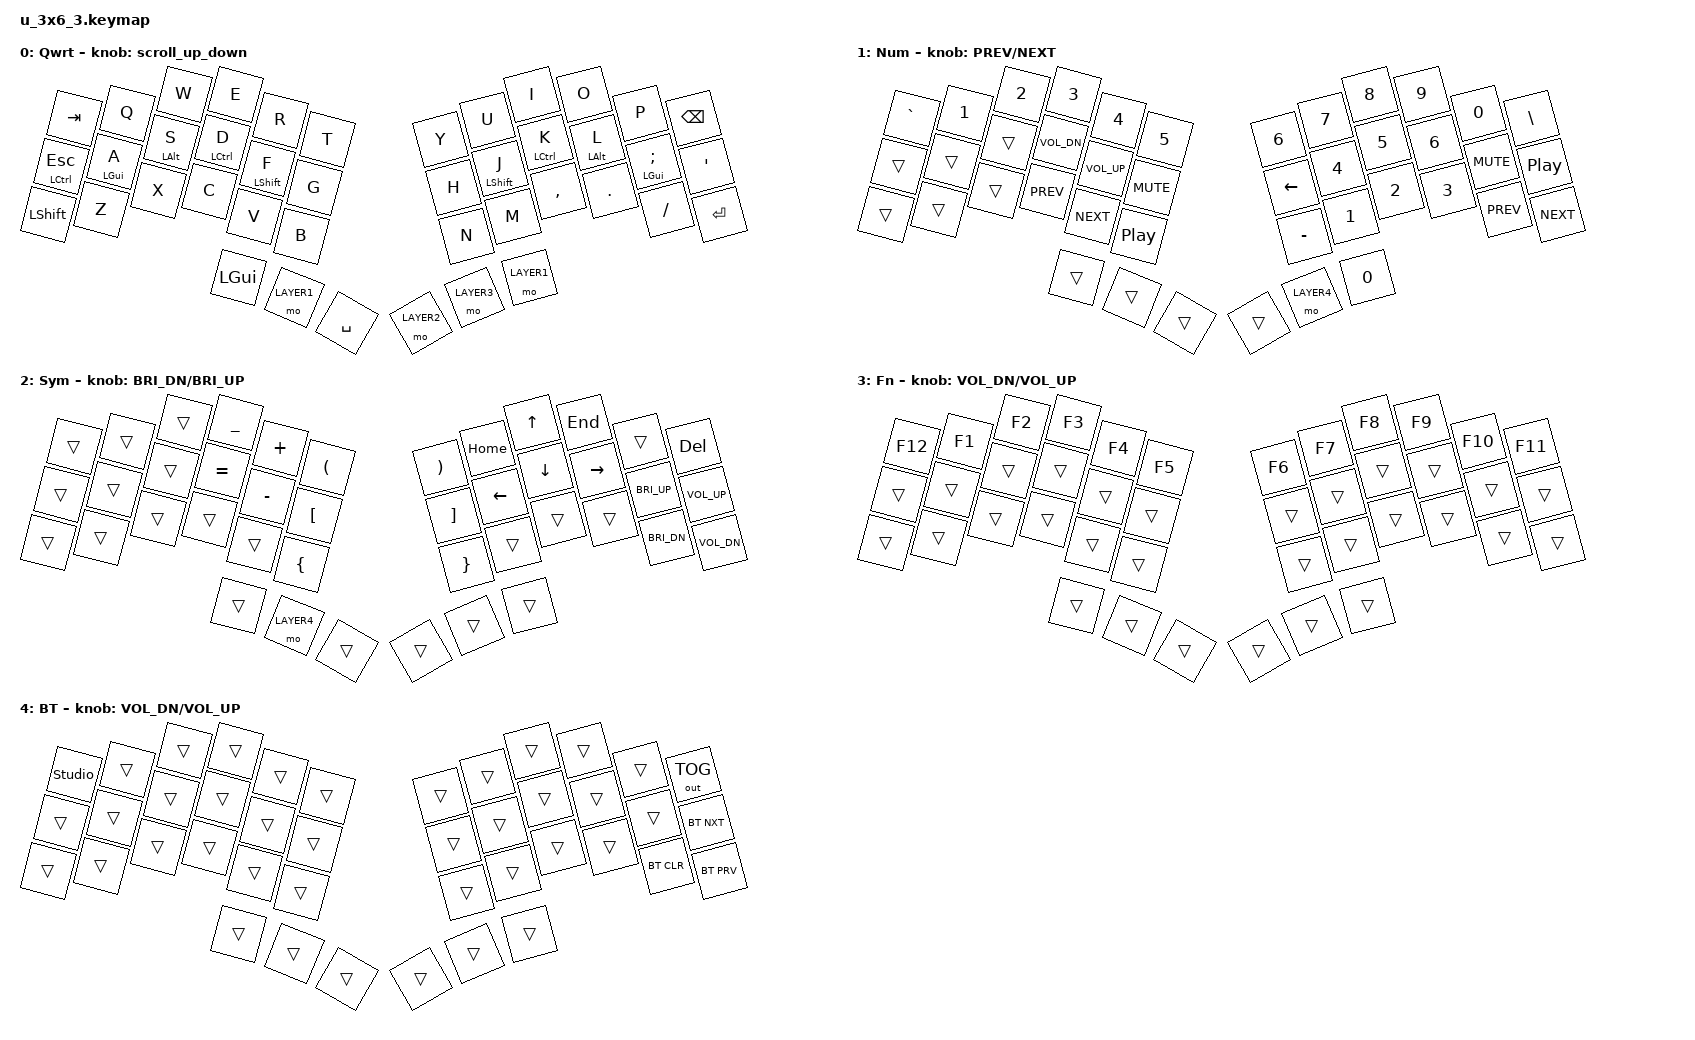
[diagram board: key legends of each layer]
#include <behaviors.dtsi>
#include <dt-bindings/zmk/bt.h>
#include <dt-bindings/zmk/keys.h>
#include <dt-bindings/zmk/outputs.h>
#include <dt-bindings/zmk/pointing.h>

/* ─── Timing ─────────────────────────────────────────────── */
#define HM_TAPPING_TERM      300
#define HM_TAPPING_TERM_FAST 200
#define HM_PRIOR_IDLE        125

/* ─── Key groups ─────────────────────────────────────────── */
#define KEYS_L 0 1 2 3 4 5 12 13 14 15 16 17 24 25 26 27 28 29
#define KEYS_R 6 7 8 9 10 11 18 19 20 21 22 23 30 31 32 33 34 35
#define KEYS_T 36 37 38 39 40 41

/* ─── Layers ──────────────────────────────────────────────── */
#define DEFAULT 0
#define LAYER1  1
#define LAYER2  2
#define LAYER3  3
#define LAYER4  4

/* ─── Combo timing ───────────────────────────────────────── */
#define COMBO_TIMEOUT    20
#define COMBO_PRIOR_IDLE 75


/ {

    /* ════════════════════════════════════════════════════════
       BEHAVIORS
       ════════════════════════════════════════════════════════ */

    behaviors {

        hm_l: homerow_mods_left {
            compatible              = "zmk,behavior-hold-tap";
            #binding-cells          = <2>;
            flavor                  = "balanced";
            require-prior-idle-ms   = <HM_PRIOR_IDLE>;
            tapping-term-ms         = <HM_TAPPING_TERM>;
            quick-tap-ms            = <175>;
            bindings                = <&kp>, <&kp>;
            hold-trigger-key-positions = <KEYS_R KEYS_T>;
            hold-trigger-on-release;
        };

        hm_r: homerow_mods_right {
            compatible              = "zmk,behavior-hold-tap";
            #binding-cells          = <2>;
            flavor                  = "balanced";
            require-prior-idle-ms   = <HM_PRIOR_IDLE>;
            tapping-term-ms         = <HM_TAPPING_TERM>;
            quick-tap-ms            = <175>;
            bindings                = <&kp>, <&kp>;
            hold-trigger-key-positions = <KEYS_L KEYS_T>;
            hold-trigger-on-release;
        };

        scroll_up_down: scroll_up_down {
            compatible = "zmk,behavior-sensor-rotate";
            #sensor-binding-cells = <0>;
            bindings = <&msc SCRL_DOWN>, <&msc SCRL_UP>;

            // Optional: Adjust sensitivity
            // tap-ms = <20>;
        };
    };


    /* ════════════════════════════════════════════════════════
       COMBOS
       ════════════════════════════════════════════════════════ */

    combos {
        compatible = "zmk,combos";

        /* ── Top row: symbol row ─────────────────────────── */
        combo_grave       { timeout-ms = <COMBO_TIMEOUT>; require-prior-idle-ms = <COMBO_PRIOR_IDLE>; key-positions = < 0  1>; bindings = <&kp GRAVE>;              };
        combo_exclamation { timeout-ms = <COMBO_TIMEOUT>; require-prior-idle-ms = <COMBO_PRIOR_IDLE>; key-positions = < 1  2>; bindings = <&kp EXCLAMATION>;        };
        combo_atsign      { timeout-ms = <COMBO_TIMEOUT>; require-prior-idle-ms = <COMBO_PRIOR_IDLE>; key-positions = < 2  3>; bindings = <&kp AT_SIGN>;            };
        combo_hash        { timeout-ms = <COMBO_TIMEOUT>; require-prior-idle-ms = <COMBO_PRIOR_IDLE>; key-positions = < 3  4>; bindings = <&kp HASH>;               };
        combo_dollar      { timeout-ms = <COMBO_TIMEOUT>; require-prior-idle-ms = <COMBO_PRIOR_IDLE>; key-positions = < 4  5>; bindings = <&kp DOLLAR>;             };
        combo_percent     { timeout-ms = <COMBO_TIMEOUT>; require-prior-idle-ms = <COMBO_PRIOR_IDLE>; key-positions = < 5  6>; bindings = <&kp PERCENT>;            };
        combo_caret       { timeout-ms = <COMBO_TIMEOUT>; require-prior-idle-ms = <COMBO_PRIOR_IDLE>; key-positions = < 6  7>; bindings = <&kp CARET>;              };
        combo_ampersand   { timeout-ms = <COMBO_TIMEOUT>; require-prior-idle-ms = <COMBO_PRIOR_IDLE>; key-positions = < 7  8>; bindings = <&kp AMPERSAND>;          };
        combo_asterisk    { timeout-ms = <COMBO_TIMEOUT>; require-prior-idle-ms = <COMBO_PRIOR_IDLE>; key-positions = < 8  9>; bindings = <&kp ASTERISK>;           };
        combo_lpar        { timeout-ms = <COMBO_TIMEOUT>; require-prior-idle-ms = <COMBO_PRIOR_IDLE>; key-positions = < 9 10>; bindings = <&kp LEFT_PARENTHESIS>;   };
        combo_rpar        { timeout-ms = <COMBO_TIMEOUT>; require-prior-idle-ms = <COMBO_PRIOR_IDLE>; key-positions = <10 11>; bindings = <&kp RIGHT_PARENTHESIS>;  };

        /* ── Thumb: GUI+Option ───────────────────────────── */
        combo_gui_option  { timeout-ms = <COMBO_TIMEOUT>; require-prior-idle-ms = <COMBO_PRIOR_IDLE>; key-positions = <36 37>; bindings = <&kp LG(LALT)>;          };

        /* ── Bottom row: macOS shortcuts ─────────────────── */
        combo_ctrl_z      { timeout-ms = <COMBO_TIMEOUT>; require-prior-idle-ms = <COMBO_PRIOR_IDLE>; key-positions = <25 26>; bindings = <&kp LG(Z)>;             };
        combo_ctrl_x      { timeout-ms = <COMBO_TIMEOUT>; require-prior-idle-ms = <COMBO_PRIOR_IDLE>; key-positions = <26 27>; bindings = <&kp LG(X)>;             };
        combo_ctrl_c      { timeout-ms = <COMBO_TIMEOUT>; require-prior-idle-ms = <COMBO_PRIOR_IDLE>; key-positions = <27 28>; bindings = <&kp LG(C)>;             };
        combo_ctrl_v      { timeout-ms = <COMBO_TIMEOUT>; require-prior-idle-ms = <COMBO_PRIOR_IDLE>; key-positions = <28 29>; bindings = <&kp LG(V)>;             };

        /* ── Home row: F-keys ────────────────────────────── */
        combo_f1          { timeout-ms = <COMBO_TIMEOUT>; require-prior-idle-ms = <COMBO_PRIOR_IDLE>; key-positions = <14 15>; bindings = <&kp F1>;                };
        combo_f4          { timeout-ms = <COMBO_TIMEOUT>; require-prior-idle-ms = <COMBO_PRIOR_IDLE>; key-positions = <16 17>; bindings = <&kp F4>;                };

        combo_bspc        { timeout-ms = <COMBO_TIMEOUT>; require-prior-idle-ms = <COMBO_PRIOR_IDLE>; key-positions = <19 20>; bindings = <&kp BSPC>;              };
        combo_enter       { timeout-ms = <COMBO_TIMEOUT>; require-prior-idle-ms = <COMBO_PRIOR_IDLE>; key-positions = <20 21>; bindings = <&kp ENTER>;             };

        combo_capsword    { timeout-ms = <COMBO_TIMEOUT>; require-prior-idle-ms = <COMBO_PRIOR_IDLE>; key-positions = <16 19>; bindings = <&caps_word>;            };
    };


    /* ════════════════════════════════════════════════════════
       KEYMAP
       ════════════════════════════════════════════════════════ */

    keymap {
        compatible = "zmk,keymap";

        /* -- Layer 0: QWERTY (default) ------------------------------------ */
        default_layer {
            display-name = "Qwrt";
            sensor-bindings = <&scroll_up_down>;
            bindings = <
// | TAB      | Q        | W        | E        | R        | T        || Y        | U        | I        | O        | P        | BSPC     |
// | CTRL/ESC | GUI/A    | ALT/S    | CTL/D    | GUI/F    | G        || H        | GUI/J    | CTL/K    | ALT/L    | GUI/;    | '        |
// | SHFT     | Z        | X        | C        | V        | B        || N        | M        | ,        | .        | /        | ENTER    |
//                                  | GUI      | L1       | SPC      || L2       | L3       | L1       |
    &kp TAB         &kp Q          &kp W          &kp E          &kp R          &kp T               &kp Y          &kp U          &kp I          &kp O          &kp P           &kp BSPC
    &mt LCTRL ESC   &hm_l LGUI A   &hm_l LALT S   &hm_l LCTRL D  &hm_l LSHFT F  &kp G               &kp H          &hm_r LSHFT J  &hm_r LCTRL K  &hm_r LALT L   &hm_r LGUI SEMI &kp SQT
    &kp LSHFT       &kp Z          &kp X          &kp C          &kp V          &kp B               &kp N          &kp M          &kp COMMA      &kp DOT        &kp FSLH        &kp ENTER
                                                   &kp LGUI       &mo LAYER1     &kp SPACE           &mo LAYER2     &mo LAYER3     &mo LAYER1
            >;
        };

        /* -- Layer 1: Numbers / Media ------------------------------------- */
        layer_1 {
            display-name = "Num";
            sensor-bindings = <&inc_dec_kp C_PREV C_NEXT>;
            bindings = <
// | `        | 1        | 2        | 3        | 4        | 5        || 6        | 7        | 8        | 9        | 0        | BSLH     |
// | ----     | ----     | ----     | VOL-     | VOL+     | MUTE     || LEFT     | 4        | 5        | 6        | MUTE     | PLAY     |
// | ----     | ----     | ----     | PREV     | NEXT     | PLAY     || -        | 1        | 2        | 3        | PREV     | NEXT     |
//                                  | ----     | ----     | ----     || ----     | L4       | 0        |
    &kp GRAVE       &kp N1         &kp N2         &kp N3         &kp N4         &kp N5              &kp N6         &kp N7         &kp N8         &kp N9         &kp N0         &kp BSLH
    &trans          &trans         &trans         &kp C_VOL_DN   &kp C_VOL_UP   &kp K_MUTE          &kp LEFT       &kp N4         &kp N5         &kp N6         &kp C_MUTE     &kp C_PLAY_PAUSE
    &trans          &trans         &trans         &kp C_PREV     &kp C_NEXT     &kp C_PLAY_PAUSE    &kp MINUS      &kp N1         &kp N2         &kp N3         &kp C_PREV     &kp C_NEXT
                                                   &trans         &trans         &trans              &trans         &mo LAYER4     &kp N0
            >;
        };

        /* -- Layer 2: Symbols / Navigation -------------------------------- */
        layer_2 {
            display-name = "Sym";
            sensor-bindings = <&inc_dec_kp C_BRI_DN C_BRI_UP>;
            bindings = <
// | ----     | ----     | ----     | _        | +        | (        || )        | HOME     | UP       | END      | ----     | DEL      |
// | ----     | ----     | ----     | =        | -        | [        || ]        | LEFT     | DOWN     | RIGHT    | BRI+     | VOL+     |
// | ----     | ----     | ----     | ----     | ----     | {        || }        | ----     | ----     | ----     | BRI-     | VOL-     |
//                                  | ----     | L4       | ----     || ----     | ----     | ----     |
    &trans          &trans         &trans         &kp UNDER      &kp PLUS       &kp LPAR            &kp RPAR       &kp HOME       &kp UP         &kp END        &trans         &kp DEL
    &trans          &trans         &trans         &kp EQUAL      &kp MINUS      &kp LBKT            &kp RBKT       &kp LEFT       &kp DOWN       &kp RIGHT      &kp C_BRI_UP   &kp C_VOL_UP
    &trans          &trans         &trans         &trans         &trans         &kp LBRC            &kp RBRC       &trans         &trans         &trans         &kp C_BRI_DN   &kp C_VOL_DN
                                                   &trans         &mo LAYER4     &trans              &trans         &trans         &trans
            >;
        };

        /* -- Layer 3: Function keys --------------------------------------- */
        layer_3 {
            display-name = "Fn";
            sensor-bindings = <&inc_dec_kp C_VOL_DN C_VOL_UP>;
            bindings = <
// | F12      | F1       | F2       | F3       | F4       | F5       || F6       | F7       | F8       | F9       | F10      | F11      |
// | ----     | ----     | ----     | ----     | ----     | ----     || ----     | ----     | ----     | ----     | ----     | ----     |
// | ----     | ----     | ----     | ----     | ----     | ----     || ----     | ----     | ----     | ----     | ----     | ----     |
//                                  | ----     | ----     | ----     || ----     | ----     | ----     |
    &kp F12         &kp F1         &kp F2         &kp F3         &kp F4         &kp F5              &kp F6         &kp F7         &kp F8         &kp F9         &kp F10        &kp F11
    &trans          &trans         &trans         &trans         &trans         &trans              &trans         &trans         &trans         &trans         &trans         &trans
    &trans          &trans         &trans         &trans         &trans         &trans              &trans         &trans         &trans         &trans         &trans         &trans
                                                   &trans         &trans         &trans              &trans         &trans         &trans
            >;
        };

        /* -- Layer 4: Bluetooth ------------------------------------------- */
        layer_4 {
            display-name = "BT";
            sensor-bindings = <&inc_dec_kp C_VOL_DN C_VOL_UP>;
            bindings = <
// | UNLOCK   | ----     | ----     | ----     | ----     | ----     || ----     | ----     | ----     | ----     | ----     | OUT TOG  |
// | ----     | ----     | ----     | ----     | ----     | ----     || ----     | ----     | ----     | ----     | ----     | BT NXT   |
// | ----     | ----     | ----     | ----     | ----     | ----     || ----     | ----     | ----     | ----     | BT CLR   | BT PRV   |
//                                  | ----     | ----     | ----     || ----     | ----     | ----     |
    &studio_unlock  &trans         &trans         &trans         &trans         &trans              &trans         &trans         &trans         &trans         &trans         &out OUT_TOG
    &trans          &trans         &trans         &trans         &trans         &trans              &trans         &trans         &trans         &trans         &trans         &bt BT_NXT
    &trans          &trans         &trans         &trans         &trans         &trans              &trans         &trans         &trans         &trans         &bt BT_CLR     &bt BT_PRV
                                                   &trans         &trans         &trans              &trans         &trans         &trans
            >;
        };
    };
};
